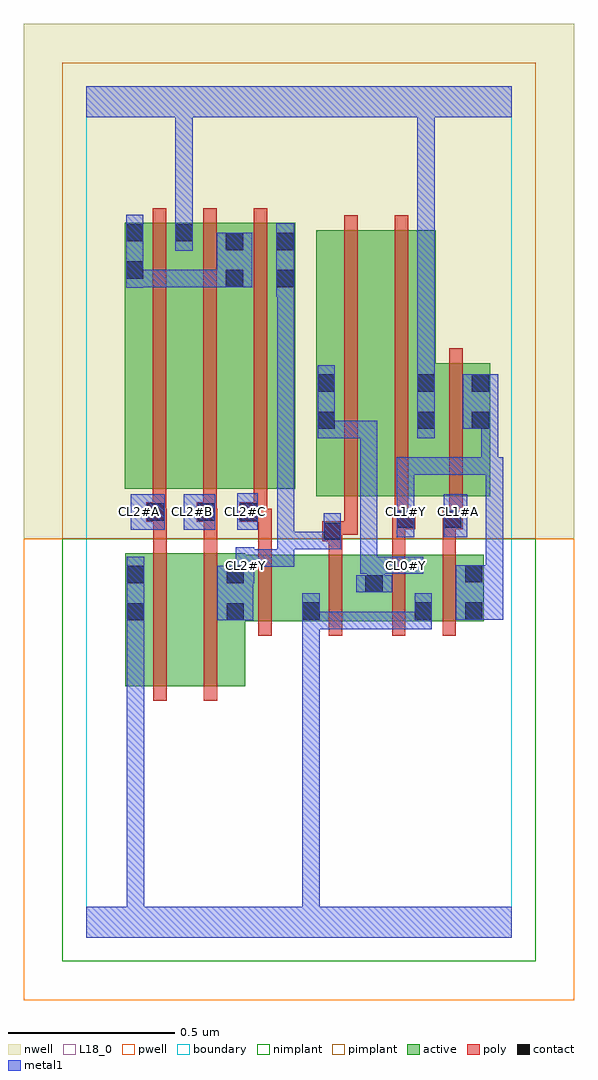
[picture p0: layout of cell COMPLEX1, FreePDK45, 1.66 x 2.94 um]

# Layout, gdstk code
import gdstk
lib = gdstk.Library(unit=1e-6, precision=1e-09)
def R(c, l, rs):  # rectangles x0, y0, x1, y1
    for r in rs: c.add(gdstk.rectangle(r[:2], r[2:], *l))
def A(c, l, x, y, w, h, nx, ny, dx, dy):  # array of equal rectangles
    R(c, l, [(x+i*dx, y+j*dy, x+i*dx+w, y+j*dy+h) for i in range(nx) for j in range(ny)])
active = (1, 0)
pwell = (2, 0)
nwell = (3, 0)
nimplant = (4, 0)
pimplant = (5, 0)
poly = (9, 0)
contact = (10, 0)
metal1 = (11, 0)
L18_0 = (18, 0)
boundary = (235, 0)

complex1 = lib.new_cell('COMPLEX1')
A(complex1, active, 0.264, 1.35, 0.06, 0.8, 3, 1, 0.152, 0)
R(complex1, active, [(0.118,0.756,0.298,1.156), (0.118,0.756,0.178,1.156), (0.298,0.756,0.478,1.156), (0.418,0.756,0.478,1.152), (0.418,0.952,0.706,1.152), (0.646,0.952,0.706,1.152), (0.646,0.952,0.896,1.152), (0.836,0.952,0.896,1.152), (0.836,0.952,1.044,1.152), (0.984,0.952,1.044,1.152), (0.984,0.952,1.196,1.152), (1.136,0.952,1.196,1.152), (0.692,1.328,0.872,2.128), (0.692,1.328,0.752,2.044), (0.872,1.328,1.052,2.128), (0.992,1.328,1.216,1.728), (1.156,1.328,1.216,1.728), (0.116,1.35,0.176,2.15), (0.116,1.35,0.324,2.15), (0.264,1.35,0.476,2.15), (0.416,1.35,0.628,2.15), (0.992,1.526,1.052,1.714)])
R(complex1, pwell, [(-0.188,-0.188,1.468,1.2)])
R(complex1, nwell, [(-0.188,1.2,1.468,2.748)])
R(complex1, nimplant, [(-0.072,-0.072,1.352,1.2)])
R(complex1, pimplant, [(-0.072,1.2,1.352,2.632)])
A(complex1, poly, 0.2, 1.25, 0.04, 0.04, 3, 1, 0.152, 0)
A(complex1, poly, 0.2, 1.27, 0.04, 0.076, 3, 1, 0.152, 0)
A(complex1, poly, 0.2, 1.306, 0.04, 0.888, 3, 1, 0.152, 0)
R(complex1, poly, [(0.202,0.712,0.242,1.2), (0.354,0.712,0.394,1.2), (0.518,0.908,0.558,1.196), (0.73,0.908,0.77,1.196), (0.92,0.908,0.96,1.196), (1.072,0.908,1.112,1.196), (0.518,1.156,0.558,1.29), (0.73,1.156,0.77,1.232), (0.92,1.156,0.96,1.268), (1.072,1.156,1.112,1.268), (0.202,1.16,0.242,1.29), (0.354,1.16,0.394,1.29), (0.71,1.192,0.77,1.252), (0.73,1.212,0.77,1.252), (0.73,1.212,0.816,1.252), (0.776,1.212,0.816,1.324), (0.92,1.228,0.968,1.268), (0.928,1.228,0.968,1.268), (0.928,1.228,0.99,1.288), (1.072,1.228,1.132,1.288), (0.928,1.248,0.968,1.324), (1.092,1.248,1.132,1.324), (1.092,1.248,1.132,1.288), (1.092,1.248,1.132,1.288), (0.18,1.25,0.24,1.31), (0.2,1.25,0.242,1.29), (0.332,1.25,0.392,1.31), (0.352,1.25,0.394,1.29), (0.46,1.25,0.544,1.31), (0.504,1.25,0.558,1.29), (0.776,1.284,0.816,2.172), (0.928,1.284,0.968,2.172), (1.092,1.284,1.132,1.772)])
R(complex1, contact, [(0.122,0.954,0.174,1.006), (0.422,0.954,0.474,1.006), (0.65,0.956,0.702,1.008), (0.988,0.956,1.04,1.008), (1.14,0.956,1.192,1.008), (0.84,1.038,0.892,1.09), (0.122,1.066,0.174,1.118), (0.422,1.066,0.474,1.118), (1.14,1.068,1.192,1.12), (0.714,1.196,0.766,1.248), (0.934,1.232,0.986,1.284), (1.076,1.232,1.128,1.284), (0.184,1.254,0.236,1.306), (0.336,1.254,0.388,1.306), (0.464,1.254,0.516,1.306), (0.696,1.53,0.748,1.582), (0.996,1.53,1.048,1.582), (1.16,1.53,1.212,1.582), (0.696,1.642,0.748,1.694), (0.996,1.642,1.048,1.694), (1.16,1.642,1.212,1.694), (0.42,1.956,0.472,2.008), (0.572,1.956,0.624,2.008), (0.12,1.982,0.172,2.034), (0.42,2.068,0.472,2.12), (0.572,2.068,0.624,2.12), (0.12,2.094,0.172,2.146), (0.268,2.094,0.32,2.146)])
R(complex1, metal1, [(0,0,1.28,0.092), (0.122,0.04,0.174,0.092), (0.122,0.04,0.174,0.092), (0.122,0.04,0.174,0.092), (0.122,0.04,0.174,0.092), (0.122,0.04,0.174,0.092), (0.122,0.04,0.174,0.092), (0.122,0.04,0.174,0.092), (0.122,0.04,0.174,0.092), (0.122,0.04,0.174,0.092), (0.122,0.04,0.174,0.092), (0.122,0.04,0.174,0.092), (0.122,0.04,0.174,0.092), (0.122,0.04,0.174,0.978), (0.65,0.04,0.702,0.092), (0.65,0.04,0.702,0.092), (0.65,0.04,0.702,0.092), (0.65,0.04,0.702,0.092), (0.65,0.04,0.702,0.092), (0.65,0.04,0.702,0.092), (0.65,0.04,0.702,0.092), (0.65,0.04,0.702,0.092), (0.65,0.04,0.702,0.092), (0.65,0.04,0.702,0.092), (0.65,0.04,0.702,0.092), (0.65,0.04,0.702,0.092), (0.65,0.04,0.702,0.092), (0.65,0.04,0.702,0.092), (0.65,0.04,0.702,0.092), (0.65,0.04,0.702,0.092), (0.65,0.04,0.702,0.98), (0.122,0.926,0.174,1.146), (0.65,0.928,0.702,1.036), (0.65,0.928,0.766,0.98), (0.714,0.928,0.766,0.98), (0.714,0.928,0.876,0.98), (0.824,0.928,0.876,0.98), (0.824,0.928,0.876,0.98), (0.824,0.928,0.876,0.98), (0.824,0.928,1.04,0.98), (0.988,0.928,1.04,1.036), (0.394,0.954,0.502,1.118), (1.112,0.956,1.254,1.12), (0.812,1.038,0.92,1.09), (0.846,1.038,0.898,1.146), (0.45,1.066,0.502,1.118), (0.45,1.066,0.506,1.174), (1.202,1.068,1.254,1.444), (1.202,1.068,1.254,1.12), (1.202,1.068,1.254,1.12), (0.824,1.094,0.876,1.554), (0.824,1.094,1.014,1.146), (0.454,1.116,0.506,1.168), (0.454,1.116,0.506,1.168), (0.454,1.116,0.626,1.168), (0.574,1.116,0.626,1.22), (0.574,1.168,0.626,1.22), (0.574,1.168,0.626,1.22), (0.574,1.168,0.626,1.22), (0.574,1.168,0.626,1.22), (0.574,1.168,0.766,1.22), (0.574,1.168,0.626,1.98), (0.714,1.168,0.766,1.276), (0.934,1.204,0.986,1.334), (1.076,1.204,1.146,1.334), (0.134,1.226,0.236,1.334), (0.294,1.226,0.388,1.334), (0.454,1.226,0.516,1.336), (0.934,1.282,0.986,1.334), (0.934,1.282,0.986,1.444), (0.934,1.392,1.24,1.444), (1.188,1.392,1.24,1.582), (1.188,1.392,1.24,1.444), (1.188,1.392,1.24,1.444), (1.188,1.392,1.254,1.444), (0.696,1.502,0.748,1.554), (0.696,1.502,0.748,1.554), (0.696,1.502,0.748,1.554), (0.696,1.502,0.748,1.554), (0.696,1.502,0.748,1.722), (0.696,1.502,0.876,1.554), (0.824,1.502,0.876,1.554), (0.996,1.502,1.048,1.722), (1.132,1.53,1.24,1.694), (0.996,1.67,1.048,1.722), (0.996,1.67,1.048,1.722), (0.996,1.67,1.048,1.722), (0.996,1.67,1.048,1.722), (0.996,1.67,1.048,1.722), (0.996,1.67,1.048,1.722), (0.996,1.67,1.048,1.722), (0.996,1.67,1.048,1.722), (0.996,1.67,1.048,2.52), (0.572,1.928,0.626,2.148), (0.12,1.954,0.172,2.174), (0.12,1.956,0.172,2.008), (0.12,1.956,0.172,2.008), (0.12,1.956,0.334,2.008), (0.282,1.956,0.334,2.008), (0.282,1.956,0.334,2.008), (0.282,1.956,0.334,2.008), (0.282,1.956,0.444,2.008), (0.392,1.956,0.5,2.12), (0.268,2.066,0.32,2.174), (0.268,2.122,0.32,2.174), (0.268,2.122,0.32,2.174), (0.268,2.122,0.32,2.174), (0.268,2.122,0.32,2.174), (0.268,2.122,0.32,2.174), (0.268,2.122,0.32,2.174), (0.268,2.122,0.32,2.174), (0.268,2.122,0.32,2.174), (0.268,2.122,0.32,2.52), (0,2.468,1.28,2.56)])
A(complex1, L18_0, 0.134, 1.254, 0.052, 0.052, 3, 1, 0.16, 0)
R(complex1, L18_0, [(0,0,1.28,0.092), (0.122,0.04,0.174,0.092), (0.122,0.04,0.174,0.092), (0.122,0.04,0.174,0.092), (0.122,0.04,0.174,0.092), (0.122,0.04,0.174,0.092), (0.122,0.04,0.174,0.092), (0.122,0.04,0.174,0.092), (0.122,0.04,0.174,0.092), (0.122,0.04,0.174,0.092), (0.122,0.04,0.174,0.092), (0.122,0.04,0.174,0.092), (0.122,0.04,0.174,0.092), (0.122,0.04,0.174,0.978), (0.65,0.04,0.702,0.092), (0.65,0.04,0.702,0.092), (0.65,0.04,0.702,0.092), (0.65,0.04,0.702,0.092), (0.65,0.04,0.702,0.092), (0.65,0.04,0.702,0.092), (0.65,0.04,0.702,0.092), (0.65,0.04,0.702,0.092), (0.65,0.04,0.702,0.092), (0.65,0.04,0.702,0.092), (0.65,0.04,0.702,0.092), (0.65,0.04,0.702,0.092), (0.65,0.04,0.702,0.092), (0.65,0.04,0.702,0.092), (0.65,0.04,0.702,0.092), (0.65,0.04,0.702,0.092), (0.65,0.04,0.702,0.98), (0.122,0.926,0.174,1.146), (0.65,0.928,0.702,1.036), (0.65,0.928,0.766,0.98), (0.714,0.928,0.766,0.98), (0.714,0.928,0.876,0.98), (0.824,0.928,0.876,0.98), (0.824,0.928,0.876,0.98), (0.824,0.928,0.876,0.98), (0.824,0.928,1.04,0.98), (0.988,0.928,1.04,1.036), (0.394,0.954,0.502,1.118), (1.112,0.956,1.254,1.12), (0.812,1.038,0.92,1.09), (0.846,1.038,0.898,1.146), (0.45,1.066,0.502,1.118), (0.45,1.066,0.506,1.174), (1.202,1.068,1.254,1.12), (1.202,1.068,1.254,1.12), (1.202,1.068,1.254,1.444), (0.454,1.094,0.506,1.146), (0.824,1.094,1.014,1.146), (0.824,1.094,0.876,1.554), (0.934,1.094,0.986,1.146), (0.454,1.116,0.506,1.168), (0.454,1.116,0.506,1.168), (0.454,1.116,0.626,1.168), (0.574,1.116,0.626,1.22), (0.574,1.168,0.626,1.22), (0.574,1.168,0.626,1.22), (0.574,1.168,0.626,1.22), (0.574,1.168,0.626,1.22), (0.574,1.168,0.626,1.98), (0.574,1.168,0.766,1.22), (0.714,1.168,0.766,1.276), (0.934,1.204,0.986,1.334), (1.076,1.204,1.146,1.334), (0.134,1.226,0.236,1.334), (0.294,1.226,0.388,1.334), (0.454,1.226,0.516,1.336), (0.934,1.254,0.986,1.306), (1.094,1.254,1.146,1.306), (0.934,1.282,0.986,1.334), (0.934,1.282,0.986,1.444), (0.934,1.392,1.24,1.444), (1.188,1.392,1.24,1.444), (1.188,1.392,1.24,1.444), (1.188,1.392,1.254,1.444), (1.188,1.392,1.24,1.582), (0.696,1.502,0.748,1.554), (0.696,1.502,0.748,1.554), (0.696,1.502,0.748,1.554), (0.696,1.502,0.748,1.554), (0.696,1.502,0.748,1.722), (0.696,1.502,0.876,1.554), (0.824,1.502,0.876,1.554), (0.996,1.502,1.048,1.722), (1.132,1.53,1.24,1.694), (0.996,1.67,1.048,1.722), (0.996,1.67,1.048,1.722), (0.996,1.67,1.048,1.722), (0.996,1.67,1.048,1.722), (0.996,1.67,1.048,1.722), (0.996,1.67,1.048,1.722), (0.996,1.67,1.048,1.722), (0.996,1.67,1.048,1.722), (0.996,1.67,1.048,2.52), (0.572,1.928,0.626,2.148), (0.268,2.066,0.32,2.174), (0.268,2.122,0.32,2.174), (0.268,2.122,0.32,2.174), (0.268,2.122,0.32,2.174), (0.268,2.122,0.32,2.174), (0.268,2.122,0.32,2.174), (0.268,2.122,0.32,2.174), (0.268,2.122,0.32,2.174), (0.268,2.122,0.32,2.174), (0.268,2.122,0.32,2.52), (0,2.468,1.28,2.56)])
R(complex1, boundary, [(0,0,1.28,2.56)])
complex1.add(gdstk.Label('CL0#Y', (0.96,1.12), layer=11, texttype=0))
complex1.add(gdstk.Label('CL1#A', (1.12,1.28), layer=11, texttype=0))
complex1.add(gdstk.Label('CL1#Y', (0.96,1.28), layer=11, texttype=0))
complex1.add(gdstk.Label('CL2#A', (0.16,1.28), layer=11, texttype=0))
complex1.add(gdstk.Label('CL2#B', (0.32,1.28), layer=11, texttype=0))
complex1.add(gdstk.Label('CL2#C', (0.48,1.28), layer=11, texttype=0))
complex1.add(gdstk.Label('CL2#Y', (0.48,1.12), layer=11, texttype=0))

lib.write_gds('COMPLEX1.gds')
